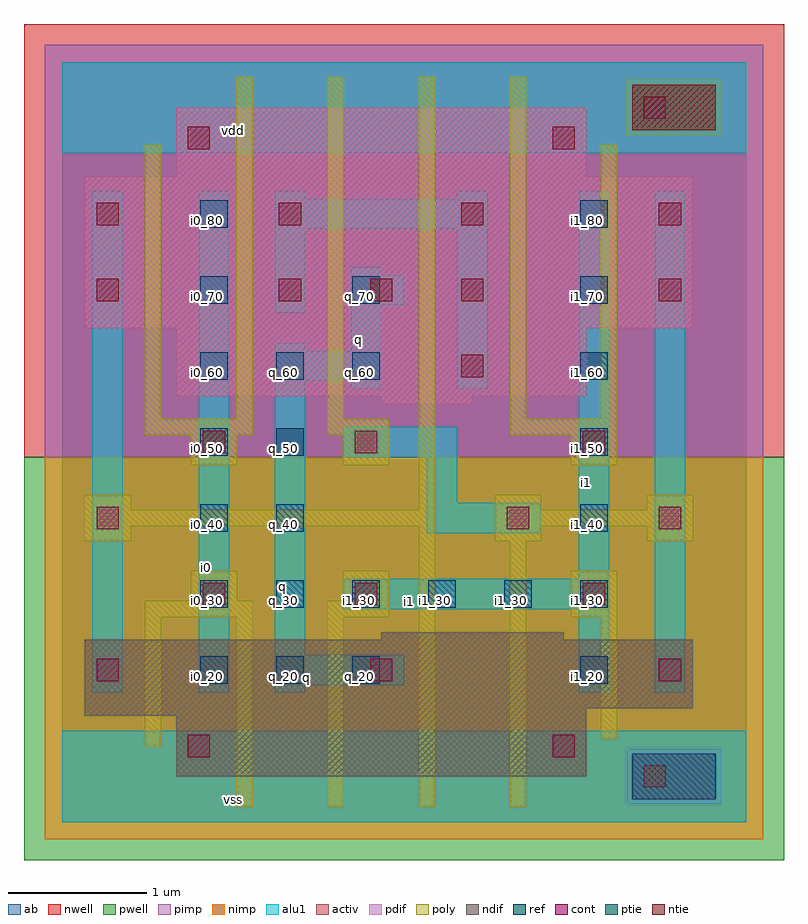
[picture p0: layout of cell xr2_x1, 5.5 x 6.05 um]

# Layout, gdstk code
import gdstk
lib = gdstk.Library(unit=1e-6, precision=2.5e-09)
def R(c, l, rs):  # rectangles x0, y0, x1, y1
    for r in rs: c.add(gdstk.rectangle(r[:2], r[2:], *l))
def A(c, l, x, y, w, h, nx, ny, dx, dy):  # array of equal rectangles
    R(c, l, [(x+i*dx, y+j*dy, x+i*dx+w, y+j*dy+h) for i in range(nx) for j in range(ny)])
ndif = (3, 0)
pdif = (4, 0)
ntie = (5, 0)
ptie = (6, 0)
ref = (24, 0)
cont = (25, 0)
pwell = (41, 0)
nwell = (42, 0)
activ = (43, 0)
pimp = (44, 0)
nimp = (45, 0)
poly = (46, 0)
alu1 = (49, 0)
ab = (63, 0)

xr2_x1 = lib.new_cell('xr2_x1')
R(xr2_x1, ndif, [(0.825,0.33,3.795,0.77), (0.165,0.77,3.795,0.825), (0.165,0.825,4.565,1.32), (2.31,1.32,3.63,1.375)])
R(xr2_x1, pdif, [(2.31,3.025,2.97,3.08), (0.825,3.08,3.795,3.575), (0.165,3.575,4.565,4.675), (0.825,4.675,3.795,5.17)])
R(xr2_x1, ntie, [(4.125,5.005,4.73,5.335)])
R(xr2_x1, ptie, [(4.125,0.165,4.73,0.495)])
A(xr2_x1, ref, 1, 1, 0.2, 0.2, 3, 2, 0.55, 2.2)
A(xr2_x1, ref, 1, 1.55, 0.2, 0.2, 6, 1, 0.55, 0)
A(xr2_x1, ref, 3.75, 2.1, 0.2, 0.2, 1, 5, 0, 0.55)
R(xr2_x1, ref, [(3.75,1,3.95,1.2), (1,2.1,1.2,2.3), (1.55,2.1,1.75,2.3), (1,2.65,1.2,2.85), (1.55,2.65,1.75,2.85), (1,3.75,1.2,3.95), (2.1,3.75,2.3,3.95), (1,4.3,1.2,4.5)])
A(xr2_x1, cont, 1.57, 3.77, 0.16, 0.16, 3, 1, 0.66, 0)
A(xr2_x1, cont, 0.25, 4.32, 0.16, 0.16, 3, 1, 1.32, 0)
R(xr2_x1, cont, [(4.21,0.25,4.37,0.41), (0.91,0.47,1.07,0.63), (3.55,0.47,3.71,0.63), (0.25,1.02,0.41,1.18), (2.23,1.02,2.39,1.18), (4.32,1.02,4.48,1.18), (1.02,1.57,1.18,1.73), (2.12,1.57,2.28,1.73), (3.77,1.57,3.93,1.73), (0.25,2.12,0.41,2.28), (3.22,2.12,3.38,2.28), (4.32,2.12,4.48,2.28), (1.02,2.67,1.18,2.83), (2.12,2.67,2.28,2.83), (3.77,2.67,3.93,2.83), (2.89,3.22,3.05,3.38), (0.25,3.77,0.41,3.93), (4.32,3.77,4.48,3.93), (4.32,4.32,4.48,4.48), (0.91,4.87,1.07,5.03), (3.55,4.87,3.71,5.03), (4.21,5.09,4.37,5.25)])
R(xr2_x1, pwell, [(-0.275,-0.275,5.225,2.64)])
R(xr2_x1, nwell, [(-0.275,2.64,5.225,5.775)])
R(xr2_x1, activ, [(4.125,0.165,4.73,0.495), (0.825,0.33,3.795,0.77), (0.165,0.77,3.795,0.825), (0.165,0.825,4.565,1.32), (2.31,1.32,3.63,1.375), (2.31,3.025,2.97,3.08), (0.825,3.08,3.795,3.575), (0.165,3.575,4.565,4.675), (0.825,4.675,3.795,5.17), (4.125,5.005,4.73,5.335)])
R(xr2_x1, pimp, [(4.085,0.125,4.77,0.535), (-0.125,2.64,5.075,4.965), (-0.125,4.965,4.085,5.375), (4.77,4.965,5.075,5.375), (-0.125,5.375,5.075,5.625)])
R(xr2_x1, nimp, [(-0.125,-0.125,5.075,0.125), (-0.125,0.125,4.085,0.535), (4.77,0.125,5.075,0.535), (-0.125,0.535,5.075,2.64), (4.085,4.965,4.77,5.375)])
R(xr2_x1, poly, [(1.26,0.105,1.38,1.48), (1.92,0.105,2.04,1.48), (2.58,0.105,2.7,2.14), (3.24,0.105,3.36,2.03), (0.6,0.545,0.72,1.48), (3.9,0.6,4.02,1.48), (0.6,1.48,1.38,1.6), (1.92,1.48,2.37,1.6), (3.68,1.48,4.02,1.82), (0.93,1.6,1.27,1.82), (2.03,1.6,2.37,1.82), (0.16,2.03,0.5,2.14), (3.13,2.03,3.47,2.14), (4.23,2.03,4.57,2.14), (0.16,2.14,2.7,2.26), (3.13,2.14,4.57,2.26), (0.16,2.26,0.5,2.37), (2.58,2.26,2.7,5.395), (3.13,2.26,3.47,2.37), (4.23,2.26,4.57,2.37), (0.93,2.58,1.27,2.8), (2.03,2.58,2.37,2.8), (3.68,2.58,4.02,2.8), (0.6,2.8,1.38,2.92), (1.92,2.8,2.37,2.92), (3.24,2.8,4.02,2.92), (0.6,2.92,0.72,4.9), (1.26,2.92,1.38,5.395), (1.92,2.92,2.04,5.395), (3.24,2.92,3.36,5.395), (3.9,2.92,4.02,4.9)])
R(xr2_x1, alu1, [(0,0,4.95,0.66), (0.22,0.935,0.44,4.565), (0.99,0.935,1.21,4.565), (1.54,0.935,1.76,0.99), (3.74,0.935,3.96,1.54), (4.29,0.935,4.51,4.565), (1.54,0.99,2.475,1.21), (1.54,1.21,1.76,3.19), (2.035,1.54,3.96,1.76), (3.74,1.76,3.96,4.565), (2.64,2.09,3.465,2.31), (2.64,2.31,2.86,2.64), (2.035,2.64,2.86,2.86), (2.09,3.135,2.31,3.19), (2.86,3.135,3.08,4.29), (1.54,3.19,2.31,3.41), (1.54,3.41,1.76,3.465), (2.09,3.41,2.31,3.74), (1.54,3.685,1.76,4.29), (2.09,3.74,2.475,3.96), (2.09,3.96,2.31,4.015), (1.54,4.29,3.08,4.51), (1.54,4.51,1.76,4.565), (2.86,4.51,3.08,4.565), (0,4.84,4.95,5.5)])
R(xr2_x1, ab, [(0,0,4.95,5.5)])
xr2_x1.add(gdstk.Label('vss', (1.2375,0.165), layer=49, texttype=0))
xr2_x1.add(gdstk.Label('q', (1.7725,1.045), layer=49, texttype=0))
xr2_x1.add(gdstk.Label('i1', (2.515,1.595), layer=49, texttype=0))
xr2_x1.add(gdstk.Label('i1', (3.795,2.46), layer=49, texttype=0))
xr2_x1.add(gdstk.Label('q', (1.595,1.705), layer=49, texttype=0))
xr2_x1.add(gdstk.Label('q', (2.145,3.4925), layer=49, texttype=0))
xr2_x1.add(gdstk.Label('i0', (1.045,1.8425), layer=49, texttype=0))
xr2_x1.add(gdstk.Label('vdd', (1.2375,5.005), layer=49, texttype=0))
xr2_x1.add(gdstk.Label('i1_30', (2.15,1.6), layer=24, texttype=0))
xr2_x1.add(gdstk.Label('i1_30', (2.7,1.6), layer=24, texttype=0))
xr2_x1.add(gdstk.Label('i1_30', (3.25,1.6), layer=24, texttype=0))
xr2_x1.add(gdstk.Label('q_60', (1.6,3.25), layer=24, texttype=0))
xr2_x1.add(gdstk.Label('q_20', (2.15,1.05), layer=24, texttype=0))
xr2_x1.add(gdstk.Label('q_60', (2.15,3.25), layer=24, texttype=0))
xr2_x1.add(gdstk.Label('q_70', (2.15,3.8), layer=24, texttype=0))
xr2_x1.add(gdstk.Label('i1_80', (3.8,4.35), layer=24, texttype=0))
xr2_x1.add(gdstk.Label('i1_70', (3.8,3.8), layer=24, texttype=0))
xr2_x1.add(gdstk.Label('i1_60', (3.8,3.25), layer=24, texttype=0))
xr2_x1.add(gdstk.Label('i1_50', (3.8,2.7), layer=24, texttype=0))
xr2_x1.add(gdstk.Label('i1_40', (3.8,2.15), layer=24, texttype=0))
xr2_x1.add(gdstk.Label('i1_30', (3.8,1.6), layer=24, texttype=0))
xr2_x1.add(gdstk.Label('i1_20', (3.8,1.05), layer=24, texttype=0))
xr2_x1.add(gdstk.Label('i0_80', (1.05,4.35), layer=24, texttype=0))
xr2_x1.add(gdstk.Label('i0_70', (1.05,3.8), layer=24, texttype=0))
xr2_x1.add(gdstk.Label('i0_60', (1.05,3.25), layer=24, texttype=0))
xr2_x1.add(gdstk.Label('i0_40', (1.05,2.15), layer=24, texttype=0))
xr2_x1.add(gdstk.Label('i0_50', (1.05,2.7), layer=24, texttype=0))
xr2_x1.add(gdstk.Label('i0_30', (1.05,1.6), layer=24, texttype=0))
xr2_x1.add(gdstk.Label('i0_20', (1.05,1.05), layer=24, texttype=0))
xr2_x1.add(gdstk.Label('q_20', (1.6,1.05), layer=24, texttype=0))
xr2_x1.add(gdstk.Label('q_30', (1.6,1.6), layer=24, texttype=0))
xr2_x1.add(gdstk.Label('q_40', (1.6,2.15), layer=24, texttype=0))
xr2_x1.add(gdstk.Label('q_50', (1.6,2.7), layer=24, texttype=0))

lib.write_gds('xr2_x1.gds')
